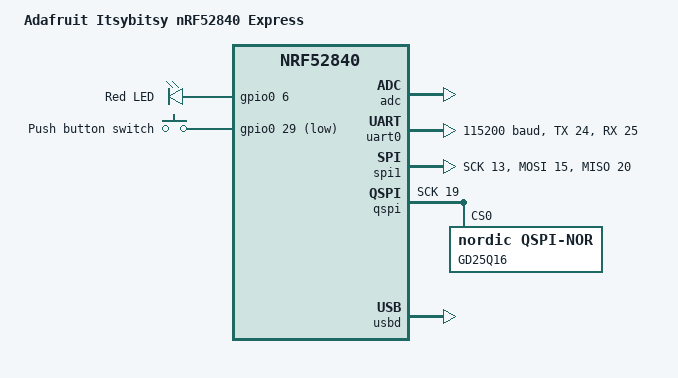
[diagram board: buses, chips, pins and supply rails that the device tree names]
/*
 * Copyright (c) 2021 Nordic Semiconductor ASA
 *
 * SPDX-License-Identifier: Apache-2.0
 */

/dts-v1/;
#include <nordic/nrf52840_qiaa.dtsi>
#include "itsybitsy_connector.dtsi"

/ {
	model = "Adafruit Itsybitsy nRF52840 Express";
	compatible = "adafruit,itsybitsy-nrf52840";

	chosen {
		zephyr,console = &uart0;
		zephyr,shell-uart = &uart0;
		zephyr,uart-mcumgr = &uart0;
		zephyr,bt-mon-uart = &uart0;
		zephyr,bt-c2h-uart = &uart0;
		zephyr,sram = &sram0;
		zephyr,flash = &flash0;
		zephyr,code-partition = &slot0_partition;
	};

	leds {
		compatible = "gpio-leds";
		led0: led_0 {
			gpios = <&gpio0 6 0>;
			label = "Red LED";
		};
	};
	buttons {
		compatible = "gpio-keys";
		button0: button_0 {
			gpios = <&gpio0 29 (GPIO_PULL_UP | GPIO_ACTIVE_LOW)>;
			label = "Push button switch";
		};
	};

	/* These aliases are provided for compatibility with samples */
	aliases {
		led0 = &led0;
		sw0 = &button0;
	};
};

&adc {
	status = "okay";
};

&gpiote {
	status = "okay";
};

&gpio0 {
	status = "okay";
};

&gpio1 {
	status = "okay";
};

&uart0 {
	compatible = "nordic,nrf-uart";
	current-speed = <115200>;
	status = "okay";
	tx-pin = <24>;
	rx-pin = <25>;
};

&i2c0 {
	compatible = "nordic,nrf-twi";
	status = "disabled";
	sda-pin = <16>;
	scl-pin = <14>;
};

&spi1 {
	compatible = "nordic,nrf-spi";
	status = "okay";
	sck-pin = <13>;
	mosi-pin = <15>;
	miso-pin = <20>;
};

&qspi {
	status = "okay";
	sck-pin = <19>;
	io-pins = <21>, <22>, <00>, <17>;
	csn-pins = <23>;
	gd25q16: gd25q16@0 {
		/* NOTE: Quad mode not supported as driver does not handle
		 * QE bit setting in SR2. Ref. GD25Q16C, Rev 3.0, p. 12.
		 */
		compatible = "nordic,qspi-nor";
		reg = <0>;
		writeoc = "pp2o";
		readoc = "read2io";
		sck-frequency = <16000000>;
		label = "GD25Q16";
		jedec-id = [c8 40 15];
		size = <16777216>;
		has-dpd;
		t-enter-dpd = <20000>;
		t-exit-dpd = <20000>;
	};
};

&flash0 {

	partitions {
		compatible = "fixed-partitions";
		#address-cells = <1>;
		#size-cells = <1>;

		boot_partition: partition@0 {
			label = "mcuboot";
			reg = <0x000000000 0x0000C000>;
		};
		slot0_partition: partition@c000 {
			label = "image-0";
			reg = <0x0000C000 0x00067000>;
		};
		slot1_partition: partition@73000 {
			label = "image-1";
			reg = <0x00073000 0x00067000>;
		};
		scratch_partition: partition@da000 {
			label = "image-scratch";
			reg = <0x000da000 0x0001e000>;
		};

		/*
		 * The flash starting at 0x000f8000 and ending at
		 * 0x000fffff is reserved for use by the application.
		 */

		/* Storage partition will be used by FCB/NFFS/NVS if enabled. */
		storage_partition: partition@f8000 {
			label = "storage";
			reg = <0x000f8000 0x00008000>;
		};
	};
};

&usbd {
	compatible = "nordic,nrf-usbd";
	status = "okay";
};
